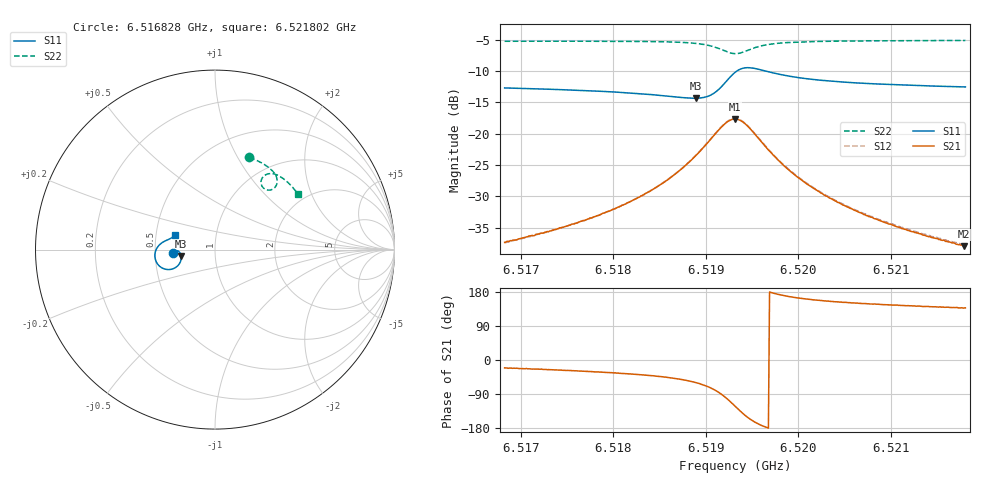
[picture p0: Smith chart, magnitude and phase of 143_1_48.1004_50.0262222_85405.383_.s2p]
#  HZ  S  RI  R  50.00
! Rohde & Schwarz Vector Network Analyzer
! Rohde-Schwarz,ZNB20-2Port,1311601062101988,3.16
! Created: UTC 12/23/2023, 3:48:59 AM
! freq[Hz]  re:S11  im:S11  re:S21  im:S21  re:S12  im:S12  re:S22  im:S22
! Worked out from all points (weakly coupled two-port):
!   401 points, 6.516828 GHz to 6.521802 GHz, reference 50 ohm
!   highest |S21| = -17.64 dB at 6.519315 GHz (marker M1); lowest = -37.9 dB at 6.52179 GHz (marker M2)
!   lowest |S11| = -14.3 dB at 6.518892 GHz (marker M3), VSWR 1.48, Z = 34 - j2.55 ohm
!   |S11| at or under -10 dB: start of sweep to 6.519333 GHz; 6.519651 GHz to end of sweep
!   |S22| runs from -7.2 to -5.1 dB; largest |S21 - S12| = 0.0041
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6.5168276e9  -0.2315 -0.0202  0.0127 -0.00481  0.0128 -0.00447  0.1912 0.5135
6.517325e9  -0.2263 -0.0128  0.0151 -0.00729  0.0153 -0.00673  0.2278 0.4988
6.5176608e9  -0.2218 -0.00877  0.0175 -0.00987  0.0178 -0.00932  0.2528 0.4868
6.5181333e9  -0.2128 -0.00611  0.0222 -0.0162  0.0228 -0.0155  0.2881 0.4654
6.518494e9  -0.2027 -0.0098  0.0281 -0.0265  0.029 -0.0257  0.316 0.4429
6.5187178e9  -0.1946 -0.0192  0.0324 -0.0394  0.0337 -0.0386  0.3332 0.4224
6.5188919e9  -0.1888 -0.0361  0.034 -0.0578  0.0359 -0.0571  0.3443 0.3988
6.5189914e9  -0.1889 -0.0529  0.0308 -0.0742  0.0334 -0.0737  0.3465 0.3803
6.5190785e9  -0.1954 -0.0734  0.0216 -0.0928  0.0247 -0.0929  0.3426 0.3606
6.5192153e9  -0.2361 -0.1078  -0.0198 -0.1202  -0.0163 -0.1218  0.312 0.3329
6.5193148e9  -0.2911 -0.1041  -0.069 -0.1117  -0.0661 -0.1146  0.2745 0.3393
6.5193769e9  -0.3195 -0.0809  -0.0917 -0.0883  -0.0899 -0.0917  0.2594 0.3589
6.5194391e9  -0.3334 -0.0504  -0.1008 -0.0604  -0.0998 -0.0637  0.2567 0.3815
6.5195386e9  -0.3311 -0.00846  -0.0944 -0.025  -0.0944 -0.0279  0.2705 0.4082
6.5196505e9  -0.3156 0.0197  -0.0779 -0.0034  -0.0786 -0.00581  0.2929 0.421
6.5198868e9  -0.2862 0.0442  -0.0509 0.0109  -0.0518 0.0096  0.331 0.4208
6.520148e9  -0.2667 0.0535  -0.0348 0.0133  -0.0357 0.0124  0.3598 0.409
6.5204962e9  -0.2513 0.0602  -0.0237 0.0125  -0.0242 0.0119  0.3882 0.3896
6.5209812e9  -0.2381 0.0675  -0.0156 0.0109  -0.0162 0.0105  0.4191 0.3611
6.5213667e9  -0.2304 0.0729  -0.012 0.00965  -0.0126 0.00959  0.44 0.338
6.5217895e9  -0.2234 0.0787  -0.00928 0.00863  -0.00979 0.00847  0.4605 0.3116
6.5218019e9  -0.2231 0.079  -0.00938 0.00858  -0.00974 0.00853  0.4611 0.3111
